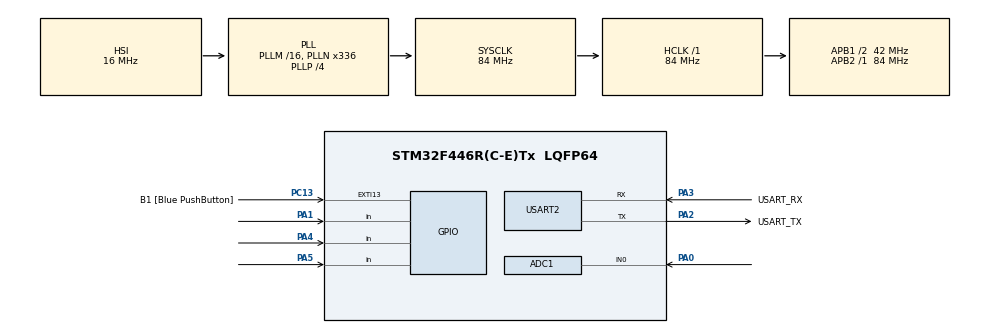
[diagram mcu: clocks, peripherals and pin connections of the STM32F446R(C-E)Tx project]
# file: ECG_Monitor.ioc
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ADC1.Channel-0\#ChannelRegularConversion=ADC_CHANNEL_0
ADC1.NbrOfConversionFlag=1
ADC1.Rank-0\#ChannelRegularConversion=1
ADC1.SamplingTime-0\#ChannelRegularConversion=ADC_SAMPLETIME_3CYCLES
ADC1.master=1
Mcu.Family=STM32F4
Mcu.Name=STM32F446R(C-E)Tx
Mcu.Package=LQFP64
NVIC.PriorityGroup=NVIC_PRIORITYGROUP_0
PA0-WKUP.Signal=ADCx_IN0
PA1.Signal=GPIO_Input
PA13.GPIO_Label=TMS
PA13.Mode=Serial_Wire
PA13.Signal=SYS_JTMS-SWDIO
PA14.GPIO_Label=TCK
PA14.Mode=Serial_Wire
PA14.Signal=SYS_JTCK-SWCLK
PA2.GPIO_Label=USART_TX
PA2.Mode=Asynchronous
PA2.Signal=USART2_TX
PA3.GPIO_Label=USART_RX
PA3.Mode=Asynchronous
PA3.Signal=USART2_RX
PA4.Signal=GPIO_Input
PA5.Signal=GPIO_Input
PB3.GPIO_Label=SWO
PB3.Signal=SYS_JTDO-SWO
PC13.GPIO_Label=B1 [Blue PushButton]
PC13.GPIO_ModeDefaultEXTI=GPIO_MODE_IT_FALLING
PC13.Signal=GPXTI13
PC14-OSC32_IN.Mode=LSE-External-Oscillator
PC14-OSC32_IN.Signal=RCC_OSC32_IN
PC15-OSC32_OUT.Mode=LSE-External-Oscillator
PC15-OSC32_OUT.Signal=RCC_OSC32_OUT
PH0-OSC_IN.Mode=HSE-External-Oscillator
PH0-OSC_IN.Signal=RCC_OSC_IN
PH1-OSC_OUT.Mode=HSE-External-Oscillator
PH1-OSC_OUT.Signal=RCC_OSC_OUT
ProjectManager.HeapSize=0x200
ProjectManager.StackSize=0x400
ProjectManager.TargetToolchain=STM32CubeIDE
RCC.48MHZClocksFreq_Value=84000000
RCC.AHBFreq_Value=84000000
RCC.APB1CLKDivider=RCC_HCLK_DIV2
RCC.APB1Freq_Value=42000000
RCC.APB1TimFreq_Value=84000000
RCC.APB2Freq_Value=84000000
RCC.APB2TimFreq_Value=84000000
RCC.CortexFreq_Value=84000000
RCC.FLatency-AdvancedSettings=FLASH_LATENCY_2
RCC.HCLKFreq_Value=84000000
RCC.HSE_VALUE=8000000
RCC.HSI_VALUE=16000000
RCC.PLLN=336
RCC.PLLP=RCC_PLLP_DIV4
RCC.SYSCLKFreq_VALUE=84000000
RCC.SYSCLKSource=RCC_SYSCLKSOURCE_PLLCLK
RCC.USBFreq_Value=168000000
RCC.VCOOutputFreq_Value=336000000
SH.ADCx_IN0.0=ADC1_IN0,IN0
USART2.VirtualMode=VM_ASYNC
board=NUCLEO-F446RE

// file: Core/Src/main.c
/* USER CODE BEGIN Header */
/**
  ******************************************************************************
  * @file           : main.c
  * @brief          : Main program body
  ******************************************************************************
  * @attention
  *
  * Copyright (c) 2026 STMicroelectronics.
  * All rights reserved.
  *
  * This software is licensed under terms that can be found in the LICENSE file
  * in the root directory of this software component.
  * If no LICENSE file comes with this software, it is provided AS-IS.
  *
  ******************************************************************************
  */
/* USER CODE END Header */
#include "main.h"

/* USER CODE BEGIN Includes */
#include <stdio.h>
/* USER CODE END Includes */

ADC_HandleTypeDef hadc1;

UART_HandleTypeDef huart2;

/* USER CODE BEGIN PV */

// High-pass filter (baseline wander removal) state
float hp_alpha = 0.9876f; 	// cutoff -0.5 Hz @ 250 Hz sample rate
float hp_x_prev = 0.0f; 	// x[n-1]
float hp_y_prev = 0.0f; 	// y[n-1]

/* USER CODE END PV */

void SystemClock_Config(void);
static void MX_GPIO_Init(void);
static void MX_ADC1_Init(void);
static void MX_USART2_UART_Init(void);

int main(void)
{

  /* MCU Configuration--------------------------------------------------------*/

  /* Reset of all peripherals, Initializes the Flash interface and the Systick. */
  HAL_Init();

  /* Configure the system clock */
  SystemClock_Config();

  /* Initialize all configured peripherals */
  MX_GPIO_Init();
  MX_ADC1_Init();
  MX_USART2_UART_Init();
  /* USER CODE BEGIN 2 */
  HAL_ADC_Start(&hadc1);
  /* USER CODE END 2 */

  /* Infinite loop */
  while (1)
  {

    /* USER CODE BEGIN 3 */
	uint32_t adc_value = 0;
	char lo_plus, lo_minus;    // leads-off detection
	char tx_buffer[48];
	uint8_t len;

	// Read ECG signal from PA0
	HAL_ADC_PollForConversion(&hadc1, 10);
	adc_value = HAL_ADC_GetValue(&hadc1);
	HAL_ADC_Start(&hadc1);	// restart for next conversion

	// Read leads-off detection pins
	lo_plus = HAL_GPIO_ReadPin(GPIOA, GPIO_PIN_1) ? '1' : '0';
	lo_minus = HAL_GPIO_ReadPin(GPIOA, GPIO_PIN_4) ? '1' : '0';

	// -----High-pass filter (baseline wander removal) ------
	float x_n = (float)adc_value;
	float y_n = hp_alpha * (hp_y_prev + x_n - hp_x_prev);
	hp_x_prev = x_n;
	hp_y_prev = y_n;
	//---------------------------------------------------------

	// Format as CSV: adc_value, lo_plus, lo_minus
	len = snprintf(tx_buffer, sizeof(tx_buffer), "%lu,%.2f,%c,%c\r\n", adc_value, y_n, lo_plus, lo_minus);

	// Send over USART2
	HAL_UART_Transmit(&huart2, (uint8_t*)tx_buffer, len, 100);

	HAL_Delay(4); // roughly ~250 Hz sample rate for now
  }
  /* USER CODE END 3 */
}

void SystemClock_Config(void)
{
  RCC_OscInitTypeDef RCC_OscInitStruct = {0};
  RCC_ClkInitTypeDef RCC_ClkInitStruct = {0};

  /** Configure the main internal regulator output voltage
  */
  __HAL_RCC_PWR_CLK_ENABLE();
  __HAL_PWR_VOLTAGESCALING_CONFIG(PWR_REGULATOR_VOLTAGE_SCALE3);

  /** Initializes the RCC Oscillators according to the specified parameters
  * in the RCC_OscInitTypeDef structure.
  */
  RCC_OscInitStruct.OscillatorType = RCC_OSCILLATORTYPE_HSI;
  RCC_OscInitStruct.HSIState = RCC_HSI_ON;
  RCC_OscInitStruct.HSICalibrationValue = RCC_HSICALIBRATION_DEFAULT;
  RCC_OscInitStruct.PLL.PLLState = RCC_PLL_ON;
  RCC_OscInitStruct.PLL.PLLSource = RCC_PLLSOURCE_HSI;
  RCC_OscInitStruct.PLL.PLLM = 16;
  RCC_OscInitStruct.PLL.PLLN = 336;
  RCC_OscInitStruct.PLL.PLLP = RCC_PLLP_DIV4;
  RCC_OscInitStruct.PLL.PLLQ = 2;
  RCC_OscInitStruct.PLL.PLLR = 2;
  if (HAL_RCC_OscConfig(&RCC_OscInitStruct) != HAL_OK)
  {
    Error_Handler();
  }

  /** Initializes the CPU, AHB and APB buses clocks
  */
  RCC_ClkInitStruct.ClockType = RCC_CLOCKTYPE_HCLK|RCC_CLOCKTYPE_SYSCLK
                              |RCC_CLOCKTYPE_PCLK1|RCC_CLOCKTYPE_PCLK2;
  RCC_ClkInitStruct.SYSCLKSource = RCC_SYSCLKSOURCE_PLLCLK;
  RCC_ClkInitStruct.AHBCLKDivider = RCC_SYSCLK_DIV1;
  RCC_ClkInitStruct.APB1CLKDivider = RCC_HCLK_DIV2;
  RCC_ClkInitStruct.APB2CLKDivider = RCC_HCLK_DIV1;

  if (HAL_RCC_ClockConfig(&RCC_ClkInitStruct, FLASH_LATENCY_2) != HAL_OK)
  {
    Error_Handler();
  }
}

static void MX_ADC1_Init(void)
{

  ADC_ChannelConfTypeDef sConfig = {0};

  /** Configure the global features of the ADC (Clock, Resolution, Data Alignment and number of conversion)
  */
  hadc1.Instance = ADC1;
  hadc1.Init.ClockPrescaler = ADC_CLOCK_SYNC_PCLK_DIV4;
  hadc1.Init.Resolution = ADC_RESOLUTION_12B;
  hadc1.Init.ScanConvMode = DISABLE;
  hadc1.Init.ContinuousConvMode = DISABLE;
  hadc1.Init.DiscontinuousConvMode = DISABLE;
  hadc1.Init.ExternalTrigConvEdge = ADC_EXTERNALTRIGCONVEDGE_NONE;
  hadc1.Init.ExternalTrigConv = ADC_SOFTWARE_START;
  hadc1.Init.DataAlign = ADC_DATAALIGN_RIGHT;
  hadc1.Init.NbrOfConversion = 1;
  hadc1.Init.DMAContinuousRequests = DISABLE;
  hadc1.Init.EOCSelection = ADC_EOC_SINGLE_CONV;
  if (HAL_ADC_Init(&hadc1) != HAL_OK)
  {
    Error_Handler();
  }

  /** Configure for the selected ADC regular channel its corresponding rank in the sequencer and its sample time.
  */
  sConfig.Channel = ADC_CHANNEL_0;
  sConfig.Rank = 1;
  sConfig.SamplingTime = ADC_SAMPLETIME_3CYCLES;
  if (HAL_ADC_ConfigChannel(&hadc1, &sConfig) != HAL_OK)
  {
    Error_Handler();
  }

}

static void MX_USART2_UART_Init(void)
{

  huart2.Instance = USART2;
  huart2.Init.BaudRate = 115200;
  huart2.Init.WordLength = UART_WORDLENGTH_8B;
  huart2.Init.StopBits = UART_STOPBITS_1;
  huart2.Init.Parity = UART_PARITY_NONE;
  huart2.Init.Mode = UART_MODE_TX_RX;
  huart2.Init.HwFlowCtl = UART_HWCONTROL_NONE;
  huart2.Init.OverSampling = UART_OVERSAMPLING_16;
  if (HAL_UART_Init(&huart2) != HAL_OK)
  {
    Error_Handler();
  }

}

static void MX_GPIO_Init(void)
{
  GPIO_InitTypeDef GPIO_InitStruct = {0};

  /* GPIO Ports Clock Enable */
  __HAL_RCC_GPIOC_CLK_ENABLE();
  __HAL_RCC_GPIOH_CLK_ENABLE();
  __HAL_RCC_GPIOA_CLK_ENABLE();
  __HAL_RCC_GPIOB_CLK_ENABLE();

  /*Configure GPIO pin : B1_Pin */
  GPIO_InitStruct.Pin = B1_Pin;
  GPIO_InitStruct.Mode = GPIO_MODE_IT_FALLING;
  GPIO_InitStruct.Pull = GPIO_NOPULL;
  HAL_GPIO_Init(B1_GPIO_Port, &GPIO_InitStruct);

  /*Configure GPIO pins : PA1 PA4 PA5 */
  GPIO_InitStruct.Pin = GPIO_PIN_1|GPIO_PIN_4|GPIO_PIN_5;
  GPIO_InitStruct.Mode = GPIO_MODE_INPUT;
  GPIO_InitStruct.Pull = GPIO_NOPULL;
  HAL_GPIO_Init(GPIOA, &GPIO_InitStruct);

}

void Error_Handler(void)
{
  __disable_irq();
  while (1)
  {
  }
}
